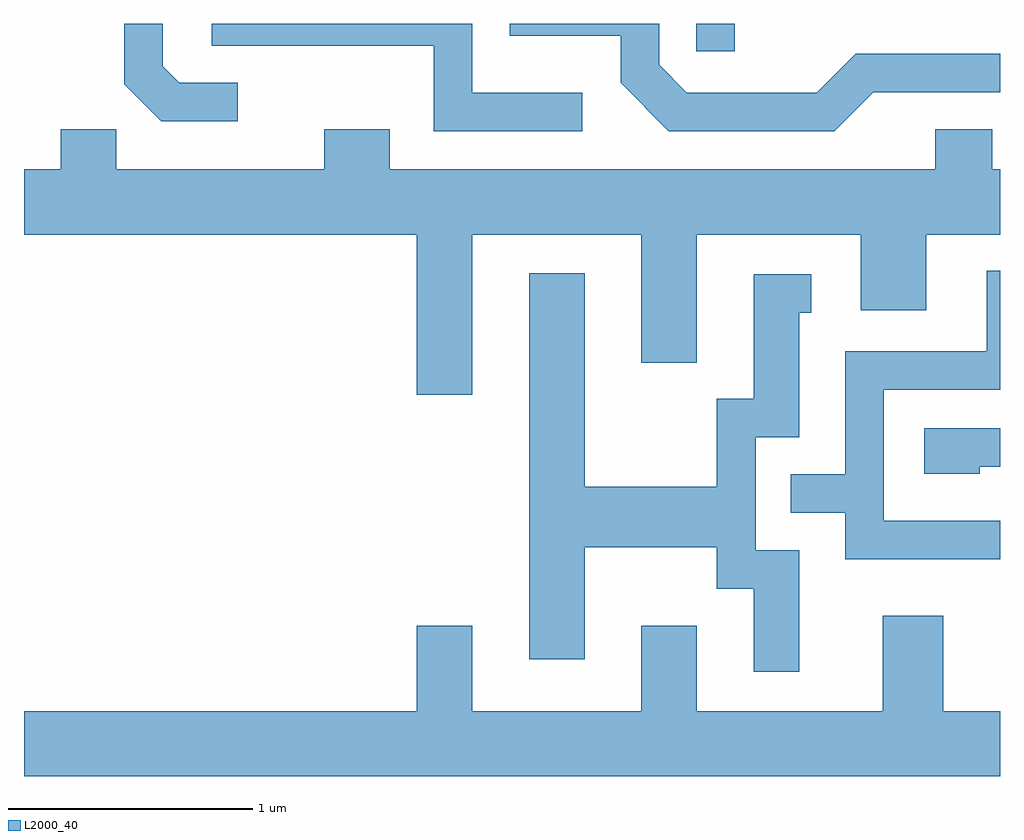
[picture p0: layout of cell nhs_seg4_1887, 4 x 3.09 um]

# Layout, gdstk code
import gdstk
lib = gdstk.Library(unit=1e-6, precision=1e-09)
def R(c, l, rs):  # rectangles x0, y0, x1, y1
    for r in rs: c.add(gdstk.rectangle(r[:2], r[2:], *l))
def P(c, l, *ps):  # polygons
    for p in ps: c.add(gdstk.Polygon(p, *l))
L2000_40 = (2000, 40)

nhs_seg4_1887 = lib.new_cell('nhs_seg4_1887')
R(nhs_seg4_1887, L2000_40, [(242.366,1359.868,242.524,1359.982)])
P(nhs_seg4_1887, L2000_40, [(243.092,1359.701),(243.611,1359.701),(243.611,1359.859),(243.019,1359.859),(242.859,1359.699),(242.327,1359.699),(242.214,1359.812),(242.214,1359.982),(241.601,1359.982),(241.601,1359.931),(242.056,1359.931),(242.056,1359.739),(242.254,1359.541),(242.932,1359.541)],
  [(241.898,1359.699),(241.449,1359.699),(241.449,1359.982),(240.381,1359.982),(240.381,1359.891),(241.291,1359.891),(241.291,1359.541),(241.898,1359.541)],
  [(240.488,1359.739),(240.247,1359.739),(240.179,1359.807),(240.179,1359.982),(240.021,1359.982),(240.021,1359.734),(240.174,1359.581),(240.488,1359.581)],
  [(241.449,1359.116),(242.141,1359.116),(242.141,1358.591),(242.369,1358.591),(242.369,1359.116),(243.041,1359.116),(243.041,1358.806),(243.309,1358.806),(243.309,1359.116),(243.611,1359.116),(243.611,1359.384),(243.579,1359.384),(243.579,1359.549),(243.346,1359.549),(243.346,1359.384),(241.109,1359.384),(241.109,1359.549),(240.841,1359.549),(240.841,1359.384),(239.989,1359.384),(239.989,1359.549),(239.761,1359.549),(239.761,1359.384),(239.611,1359.384),(239.611,1359.116),(241.221,1359.116),(241.221,1358.461),(241.449,1358.461)],
  [(243.611,1357.944),(243.134,1357.944),(243.134,1358.481),(243.611,1358.481),(243.611,1358.968),(243.556,1358.968),(243.556,1358.639),(242.976,1358.639),(242.976,1358.134),(242.753,1358.134),(242.753,1357.976),(242.976,1357.976),(242.976,1357.786),(243.611,1357.786)],
  [(242.789,1357.824),(242.609,1357.824),(242.609,1358.286),(242.789,1358.286),(242.789,1358.796),(242.838,1358.796),(242.838,1358.954),(242.601,1358.954),(242.601,1358.444),(242.451,1358.444),(242.451,1358.084),(241.909,1358.084),(241.909,1358.959),(241.681,1358.959),(241.681,1357.376),(241.909,1357.376),(241.909,1357.836),(242.451,1357.836),(242.451,1357.666),(242.601,1357.666),(242.601,1357.326),(242.789,1357.326)],
  [(243.529,1358.166),(243.611,1358.166),(243.611,1358.324),(243.301,1358.324),(243.301,1358.136),(243.529,1358.136)],
  [(243.611,1357.164),(243.379,1357.164),(243.379,1357.554),(243.131,1357.554),(243.131,1357.164),(242.369,1357.164),(242.369,1357.514),(242.141,1357.514),(242.141,1357.164),(241.449,1357.164),(241.449,1357.514),(241.221,1357.514),(241.221,1357.164),(239.611,1357.164),(239.611,1356.896),(243.611,1356.896)])

lib.write_gds('nhs_seg4_1887.gds')
